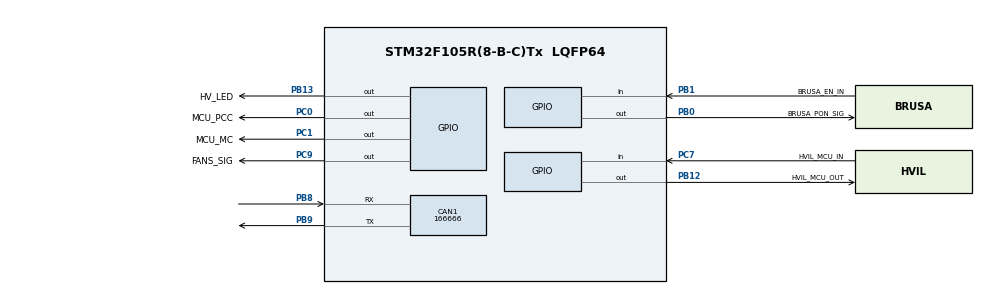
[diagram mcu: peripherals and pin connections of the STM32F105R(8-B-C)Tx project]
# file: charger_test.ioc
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CAN1.CalculateBaudRate=166666
CAN1.CalculateTimeBit=6000
CAN1.CalculateTimeQuantum=2000.0
Mcu.Family=STM32F1
Mcu.Name=STM32F105R(8-B-C)Tx
Mcu.Package=LQFP64
NVIC.PriorityGroup=NVIC_PRIORITYGROUP_4
PA4.Signal=SPI1_NSS
PA5.Signal=SPI1_SCK
PA6.Signal=SPI1_MISO
PA7.Signal=SPI1_MOSI
PB0.GPIO_Label=BRUSA_PON_SIG
PB0.Signal=GPIO_Output
PB1.GPIO_Label=BRUSA_EN_IN
PB1.Signal=GPIO_Input
PB12.GPIO_Label=HVIL_MCU_OUT
PB12.Signal=GPIO_Output
PB13.GPIO_Label=HV_LED
PB13.Signal=GPIO_Output
PB8.Mode=CAN_Activate
PB8.Signal=CAN1_RX
PB9.Mode=CAN_Activate
PB9.Signal=CAN1_TX
PC0.GPIO_Label=MCU_PCC
PC0.Signal=GPIO_Output
PC1.GPIO_Label=MCU_MC
PC1.Signal=GPIO_Output
PC7.GPIO_Label=HVIL_MCU_IN
PC7.Signal=GPIO_Input
PC9.GPIO_Label=FANS_SIG
PC9.PinState=GPIO_PIN_RESET
PC9.Signal=GPIO_Output
ProjectManager.HeapSize=0x200
ProjectManager.StackSize=0x400
ProjectManager.TargetToolchain=STM32CubeIDE
RCC.USBFreq_Value=10666666.666666666
board=custom

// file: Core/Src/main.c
/* USER CODE BEGIN Header */
/**
  ******************************************************************************
  * @file           : main.c
  * @brief          : Main program body
  ******************************************************************************
  * @attention
  *
  * Copyright (c) 2024 STMicroelectronics.
  * All rights reserved.
  *
  * This software is licensed under terms that can be found in the LICENSE file
  * in the root directory of this software component.
  * If no LICENSE file comes with this software, it is provided AS-IS.
  *
  ******************************************************************************
  */
/* USER CODE END Header */
#include "main.h"

CAN_HandleTypeDef hcan1;

struct CANMessage {
	CAN_TxHeaderTypeDef TxHeader;
	uint32_t TxMailbox;
	uint8_t data[8];
};

void SystemClock_Config(void);
static void MX_GPIO_Init(void);
static void MX_CAN1_Init(void);
HAL_StatusTypeDef CAN_Start(void);
HAL_StatusTypeDef CAN_Activate(void);
void CAN_SettingsInit(struct CANMessage *ptr);
HAL_StatusTypeDef CAN_Send(struct CANMessage *ptr);
void CAN_Send_Test(struct CANMessage *ptr);
HAL_StatusTypeDef CAN_Send_Simple(void);
/* USER CODE BEGIN PFP */
void setOutputPins(
		uint8_t BRUSA_PON_SIG_State,
		uint8_t HVIL_MCU_OUT_State,
		uint8_t FANS_SIG_State,
		uint8_t MCU_PCC_State,
		uint8_t MCU_MC_State,
		uint8_t HV_LED_State);
/* USER CODE END PFP */

int main(void)
{

  /* MCU Configuration--------------------------------------------------------*/

  /* Reset of all peripherals, Initializes the Flash interface and the Systick. */
  HAL_Init();

  /* Configure the system clock */
  SystemClock_Config();

  /* Initialize all configured peripherals */
  MX_GPIO_Init();
  MX_CAN1_Init();
  /* USER CODE BEGIN 2 */
  	  int pre_charge_occured = 0;
  	  setOutputPins(0, 0, 0, 0, 0, 0);

  struct CANMessage message;
  CAN_SettingsInit(&message);
  CAN_Send_Test(&message);
  /* USER CODE END 2 */

  /* Infinite loop */
  /* USER CODE BEGIN WHILE */
  while (1)
  {
      if (HAL_GPIO_ReadPin(HVIL_MCU_IN_GPIO_Port, HVIL_MCU_IN_Pin) == 1 && HAL_GPIO_ReadPin(BRUSA_EN_IN_GPIO_Port, BRUSA_EN_IN_Pin) == 1 && pre_charge_occured == 1) {
    	  // Charge state
    	  setOutputPins(1, 1, 1, 0, 1, 1);
      } else if (HAL_GPIO_ReadPin(HVIL_MCU_IN_GPIO_Port, HVIL_MCU_IN_Pin) == 1 && HAL_GPIO_ReadPin(BRUSA_EN_IN_GPIO_Port, BRUSA_EN_IN_Pin) == 0 && pre_charge_occured == 1) {
    	  // Idle state
    	  setOutputPins(0, 1, 1, 0, 1, 1);
      } else if (HAL_GPIO_ReadPin(HVIL_MCU_IN_GPIO_Port, HVIL_MCU_IN_Pin) == 1 && pre_charge_occured == 0) {
    	  // Pre-charge state
          setOutputPins(0, 1, 0, 1, 0, 0);
          for (int delay = 0; delay < 39; delay++)
          {
            HAL_GPIO_TogglePin(GPIOB, HV_LED_Pin);
            HAL_Delay(100);
          }
          setOutputPins(0, 1, 1, 0, 1, 1);
          pre_charge_occured = 1;
      } else if (HAL_GPIO_ReadPin(HVIL_MCU_IN_GPIO_Port, HVIL_MCU_IN_Pin) == 0) {
    	  // X state
    	  setOutputPins(0, 0, 0, 0, 0, 0);
    	  pre_charge_occured = 0;
      }
  }
  /* USER CODE END WHILE */

}

void SystemClock_Config(void)
{
  RCC_OscInitTypeDef RCC_OscInitStruct = {0};
  RCC_ClkInitTypeDef RCC_ClkInitStruct = {0};

  /** Initializes the RCC Oscillators according to the specified parameters
  * in the RCC_OscInitTypeDef structure.
  */
  RCC_OscInitStruct.OscillatorType = RCC_OSCILLATORTYPE_HSI;
  RCC_OscInitStruct.HSIState = RCC_HSI_ON;
  RCC_OscInitStruct.HSICalibrationValue = RCC_HSICALIBRATION_DEFAULT;
  RCC_OscInitStruct.PLL.PLLState = RCC_PLL_NONE;
  RCC_OscInitStruct.PLL2.PLL2State = RCC_PLL_NONE;
  if (HAL_RCC_OscConfig(&RCC_OscInitStruct) != HAL_OK)
  {
    Error_Handler();
  }

  /** Initializes the CPU, AHB and APB buses clocks
  */
  RCC_ClkInitStruct.ClockType = RCC_CLOCKTYPE_HCLK|RCC_CLOCKTYPE_SYSCLK
                              |RCC_CLOCKTYPE_PCLK1|RCC_CLOCKTYPE_PCLK2;
  RCC_ClkInitStruct.SYSCLKSource = RCC_SYSCLKSOURCE_HSI;
  RCC_ClkInitStruct.AHBCLKDivider = RCC_SYSCLK_DIV1;
  RCC_ClkInitStruct.APB1CLKDivider = RCC_HCLK_DIV1;
  RCC_ClkInitStruct.APB2CLKDivider = RCC_HCLK_DIV1;

  if (HAL_RCC_ClockConfig(&RCC_ClkInitStruct, FLASH_LATENCY_0) != HAL_OK)
  {
    Error_Handler();
  }

  /** Configure the Systick interrupt time
  */
  __HAL_RCC_PLLI2S_ENABLE();
}

static void MX_CAN1_Init(void)
{

  hcan1.Instance = CAN1;
  hcan1.Init.Prescaler = 16;
  hcan1.Init.Mode = CAN_MODE_NORMAL;
  hcan1.Init.SyncJumpWidth = CAN_SJW_1TQ;
  hcan1.Init.TimeSeg1 = CAN_BS1_1TQ;
  hcan1.Init.TimeSeg2 = CAN_BS2_1TQ;
  hcan1.Init.TimeTriggeredMode = DISABLE;
  hcan1.Init.AutoBusOff = DISABLE;
  hcan1.Init.AutoWakeUp = DISABLE;
  hcan1.Init.AutoRetransmission = DISABLE;
  hcan1.Init.ReceiveFifoLocked = DISABLE;
  hcan1.Init.TransmitFifoPriority = DISABLE;
  if (HAL_CAN_Init(&hcan1) != HAL_OK)
  {
    Error_Handler();
  }

}

HAL_StatusTypeDef CAN_Start() {
	return HAL_CAN_Start(&hcan1);
}

HAL_StatusTypeDef CAN_Activate() {
	return HAL_CAN_ActivateNotification(&hcan1, CAN_IT_RX_FIFO0_MSG_PENDING);
}

void CAN_SettingsInit(struct CANMessage *ptr) {
	CAN_Start();
	CAN_Activate();
	ptr->TxHeader.IDE = CAN_ID_STD;
	ptr->TxHeader.StdId = 0x00;
	ptr->TxHeader.RTR = CAN_RTR_DATA;
	ptr->TxHeader.DLC = 8;
}

HAL_StatusTypeDef CAN_Send(struct CANMessage *ptr) {
	return HAL_CAN_AddTxMessage(&hcan1, &ptr->TxHeader, ptr->data, &ptr->TxMailbox);

}

void CAN_Send_Test(struct CANMessage *ptr) {

	uint16_t CAN_ID = 0x100; /* I made up a random number for the CAN_ID. Should it be something specific?*/
	ptr->TxHeader.StdId = CAN_ID; /* sets CAN ID in TxHeader. TxHeader is configured in CAN_SettingsInit() */

	uint8_t message1[] = { 0x2A, 0x12, 0x5B, 0x77, 0x6C, 0x89, 0x1D, 0x3F };
	uint8_t message2[] = { 0x2A, 0x12, 0x5B, 0x77, 0x6C, 0x89, 0x1D, 0x3F };
	uint8_t message3[] = { 0x2A, 0x12, 0x5B, 0x77, 0x6C, 0x89, 0x1D, 0x3F };

	for (int i = 0; i < 8; i++) {
		ptr->data[i] = message1[i];
	}
	CAN_Send(ptr);
	HAL_Delay(1000);

	for (int i = 0; i < 8; i++) {
		ptr->data[i] = message2[i];
	}

	CAN_Send(ptr);
	HAL_Delay(1000);

	for (int i = 0; i < 8; i++) {
		ptr->data[i] = message3[i];
	}

	while(1) {
		CAN_Send(ptr);
		HAL_Delay(1000);
	}

}

/* Simpler function that handles all parts of sending the message in one function */
HAL_StatusTypeDef CAN_Send_Simple() {
	CAN_TxHeaderTypeDef TxHeaderSimple;
	TxHeaderSimple.DLC = 8;
	TxHeaderSimple.StdId = 0x15A;
	TxHeaderSimple.IDE = CAN_ID_STD;
	TxHeaderSimple.RTR = CAN_RTR_DATA;

	uint8_t data[8] = {0x2a, 0x12, 0x5B, 0x77, 0x6C, 0x89, 0x1D, 0x3F};

	uint32_t TxMailbox;

	return HAL_CAN_AddTxMessage(&hcan1, &TxHeaderSimple, data, &TxMailbox);

}

static void MX_GPIO_Init(void)
{
  GPIO_InitTypeDef GPIO_InitStruct = {0};

  /* GPIO Ports Clock Enable */
  __HAL_RCC_GPIOC_CLK_ENABLE();
  __HAL_RCC_GPIOA_CLK_ENABLE();
  __HAL_RCC_GPIOB_CLK_ENABLE();

  /*Configure GPIO pin Output Level */
  HAL_GPIO_WritePin(GPIOC, MCU_PCC_Pin|MCU_MC_Pin|FANS_SIG_Pin, GPIO_PIN_RESET);

  /*Configure GPIO pin Output Level */
  HAL_GPIO_WritePin(GPIOB, BRUSA_PON_SIG_Pin|HVIL_MCU_OUT_Pin|HV_LED_Pin, GPIO_PIN_RESET);

  /*Configure GPIO pins : MCU_PCC_Pin MCU_MC_Pin FANS_SIG_Pin */
  GPIO_InitStruct.Pin = MCU_PCC_Pin|MCU_MC_Pin|FANS_SIG_Pin;
  GPIO_InitStruct.Mode = GPIO_MODE_OUTPUT_PP;
  GPIO_InitStruct.Pull = GPIO_NOPULL;
  GPIO_InitStruct.Speed = GPIO_SPEED_FREQ_LOW;
  HAL_GPIO_Init(GPIOC, &GPIO_InitStruct);

  /*Configure GPIO pins : PA4 PA5 PA6 PA7 */
  GPIO_InitStruct.Pin = GPIO_PIN_4|GPIO_PIN_5|GPIO_PIN_6|GPIO_PIN_7;
  GPIO_InitStruct.Mode = GPIO_MODE_AF_PP;
  GPIO_InitStruct.Speed = GPIO_SPEED_FREQ_HIGH;
  HAL_GPIO_Init(GPIOA, &GPIO_InitStruct);

  /*Configure GPIO pins : BRUSA_PON_SIG_Pin HVIL_MCU_OUT_Pin HV_LED_Pin */
  GPIO_InitStruct.Pin = BRUSA_PON_SIG_Pin|HVIL_MCU_OUT_Pin|HV_LED_Pin;
  GPIO_InitStruct.Mode = GPIO_MODE_OUTPUT_PP;
  GPIO_InitStruct.Pull = GPIO_NOPULL;
  GPIO_InitStruct.Speed = GPIO_SPEED_FREQ_LOW;
  HAL_GPIO_Init(GPIOB, &GPIO_InitStruct);

  /*Configure GPIO pin : BRUSA_EN_IN_Pin */
  GPIO_InitStruct.Pin = BRUSA_EN_IN_Pin;
  GPIO_InitStruct.Mode = GPIO_MODE_INPUT;
  GPIO_InitStruct.Pull = GPIO_NOPULL;
  HAL_GPIO_Init(BRUSA_EN_IN_GPIO_Port, &GPIO_InitStruct);

  /*Configure GPIO pin : HVIL_MCU_IN_Pin */
  GPIO_InitStruct.Pin = HVIL_MCU_IN_Pin;
  GPIO_InitStruct.Mode = GPIO_MODE_INPUT;
  GPIO_InitStruct.Pull = GPIO_NOPULL;
  HAL_GPIO_Init(HVIL_MCU_IN_GPIO_Port, &GPIO_InitStruct);

}

/* USER CODE BEGIN 4 */
void setOutputPins(
		  uint8_t BRUSA_PON_SIG_State,
		  uint8_t HVIL_MCU_OUT_State,
		  uint8_t FANS_SIG_State,
		  uint8_t MCU_PCC_State,
		  uint8_t MCU_MC_State,
		  uint8_t HV_LED_State) {
    HAL_GPIO_WritePin(GPIOB, BRUSA_PON_SIG_Pin, BRUSA_PON_SIG_State);
    HAL_GPIO_WritePin(GPIOB, HVIL_MCU_OUT_Pin, HVIL_MCU_OUT_State);
    HAL_GPIO_WritePin(GPIOC, FANS_SIG_Pin, FANS_SIG_State);
    HAL_GPIO_WritePin(GPIOC, MCU_PCC_Pin, MCU_PCC_State);
    HAL_GPIO_WritePin(GPIOC, MCU_MC_Pin, MCU_MC_State);
    HAL_GPIO_WritePin(GPIOB, HV_LED_Pin, HV_LED_State);
}
/* USER CODE END 4 */

void Error_Handler(void)
{
  __disable_irq();
  while (1)
  {
  }
}
